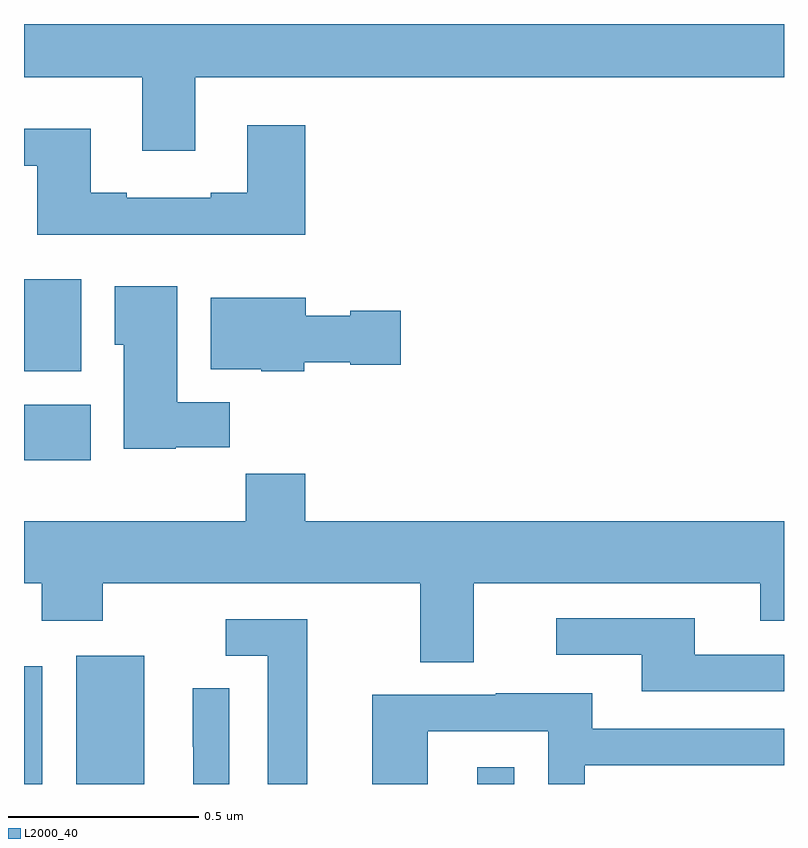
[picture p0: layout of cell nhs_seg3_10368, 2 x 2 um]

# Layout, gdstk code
import gdstk
lib = gdstk.Library(unit=1e-6, precision=1e-09)
def R(c, l, rs):  # rectangles x0, y0, x1, y1
    for r in rs: c.add(gdstk.rectangle(r[:2], r[2:], *l))
def P(c, l, *ps):  # polygons
    for p in ps: c.add(gdstk.Polygon(p, *l))
L2000_40 = (2000, 40)

nhs_seg3_10368 = lib.new_cell('nhs_seg3_10368')
R(nhs_seg3_10368, L2000_40, [(240,688.4,240.048,688.71), (240.137,688.4,240.316,688.738), (241.193,688.4,241.29,688.444), (240,689.252,240.175,689.398), (240,689.486,240.151,689.728)])
P(nhs_seg3_10368, L2000_40, [(240.451,690.26),(242,690.26),(242,690.4),(240,690.4),(240,690.26),(240.311,690.26),(240.311,690.066),(240.451,690.066)],
  [(240.74,690.133),(240.587,690.133),(240.587,689.956),(240.491,689.956),(240.491,689.943),(240.271,689.943),(240.271,689.956),(240.175,689.956),(240.175,690.124),(240,690.124),(240,690.027),(240.035,690.027),(240.035,689.846),(240.74,689.846)],
  [(240.399,689.286),(240.542,689.286),(240.542,689.404),(240.403,689.404),(240.403,689.71),(240.239,689.71),(240.239,689.556),(240.263,689.556),(240.263,689.282),(240.399,689.282)],
  [(240.738,689.51),(240.858,689.51),(240.858,689.503),(240.991,689.503),(240.991,689.645),(240.858,689.645),(240.858,689.632),(240.742,689.632),(240.742,689.68),(240.491,689.68),(240.491,689.492),(240.624,689.492),(240.624,689.486),(240.738,689.486)],
  [(240.74,689.216),(240.583,689.216),(240.583,689.092),(240,689.092),(240,688.928),(240.047,688.928),(240.047,688.829),(240.207,688.829),(240.207,688.928),(241.043,688.928),(241.043,688.72),(241.183,688.72),(241.183,688.928),(241.937,688.928),(241.937,688.829),(242,688.829),(242,689.092),(240.74,689.092)],
  [(242,688.74),(241.765,688.74),(241.765,688.836),(241.401,688.836),(241.401,688.74),(241.625,688.74),(241.625,688.644),(242,688.644)],
  [(240.745,688.833),(240.531,688.833),(240.531,688.737),(240.641,688.737),(240.641,688.4),(240.745,688.4)],
  [(240.54,688.652),(240.444,688.652),(240.444,688.498),(240.446,688.498),(240.446,688.4),(240.54,688.4)],
  [(241.062,688.539),(241.38,688.539),(241.38,688.4),(241.476,688.4),(241.476,688.449),(242,688.449),(242,688.545),(241.495,688.545),(241.495,688.639),(241.241,688.639),(241.241,688.635),(240.917,688.635),(240.917,688.4),(241.062,688.4)])

lib.write_gds('nhs_seg3_10368.gds')
